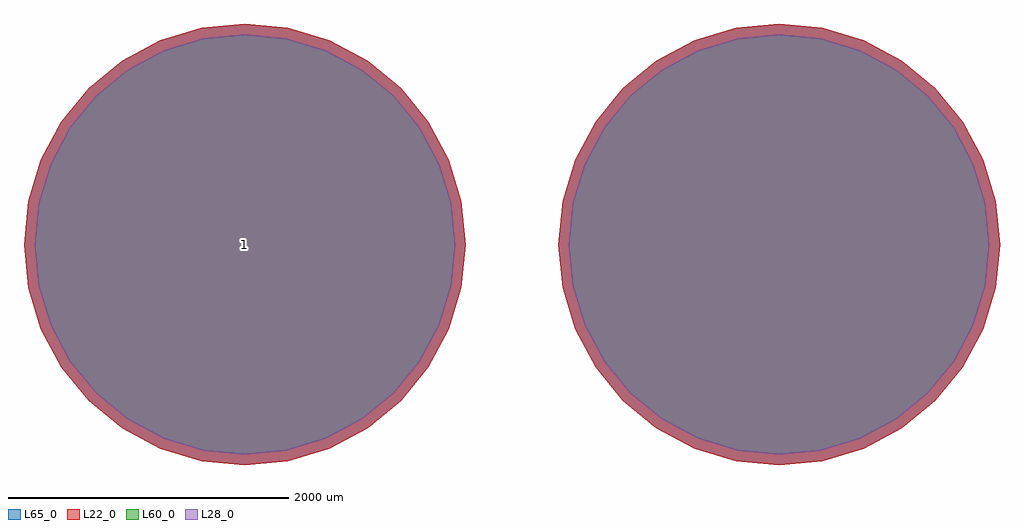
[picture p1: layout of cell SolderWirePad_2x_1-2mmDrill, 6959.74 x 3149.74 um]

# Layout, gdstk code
import gdstk
lib = gdstk.Library(unit=1e-6, precision=1e-09)
def P(c, l, *ps):  # polygons
    for p in ps: c.add(gdstk.Polygon(p, *l))
L22_0 = (22, 0)
L28_0 = (28, 0)
L60_0 = (60, 0)
L65_0 = (65, 0)

solderwirepad_2x_1_2mmdr = lib.new_cell('SolderWirePad_2x_1-2mmDrill')
P(solderwirepad_2x_1_2mmdr, L22_0, [(3479.87,0),(3449.609,307.242),(3359.99,602.677),(3214.457,874.951),(3018.601,1113.601),(2779.951,1309.457),(2507.677,1454.99),(2212.242,1544.609),(1905,1574.87),(1597.758,1544.609),(1302.323,1454.99),(1030.049,1309.457),(791.399,1113.601),(595.543,874.951),(450.01,602.677),(360.391,307.242),(330.13,0),(360.391,-307.242),(450.01,-602.677),(595.543,-874.951),(791.399,-1113.601),(1030.049,-1309.457),(1302.323,-1454.99),(1597.758,-1544.609),(1905,-1574.87),(2212.242,-1544.609),(2507.677,-1454.99),(2779.951,-1309.457),(3018.601,-1113.601),(3214.457,-874.951),(3359.99,-602.677),(3449.609,-307.242)],
  [(-330.13,0),(-360.391,307.242),(-450.01,602.677),(-595.543,874.951),(-791.399,1113.601),(-1030.049,1309.457),(-1302.323,1454.99),(-1597.758,1544.609),(-1905,1574.87),(-2212.242,1544.609),(-2507.677,1454.99),(-2779.951,1309.457),(-3018.601,1113.601),(-3214.457,874.951),(-3359.99,602.677),(-3449.609,307.242),(-3479.87,0),(-3449.609,-307.242),(-3359.99,-602.677),(-3214.457,-874.951),(-3018.601,-1113.601),(-2779.951,-1309.457),(-2507.677,-1454.99),(-2212.242,-1544.609),(-1905,-1574.87),(-1597.758,-1544.609),(-1302.323,-1454.99),(-1030.049,-1309.457),(-791.399,-1113.601),(-595.543,-874.951),(-450.01,-602.677),(-360.391,-307.242)])
P(solderwirepad_2x_1_2mmdr, L28_0, [(3404.87,0),(3376.05,292.61),(3290.699,573.975),(3152.096,833.283),(2965.568,1060.568),(2738.283,1247.096),(2478.975,1385.699),(2197.61,1471.05),(1905,1499.87),(1612.39,1471.05),(1331.025,1385.699),(1071.717,1247.096),(844.432,1060.568),(657.904,833.283),(519.301,573.975),(433.95,292.61),(405.13,0),(433.95,-292.61),(519.301,-573.975),(657.904,-833.283),(844.432,-1060.568),(1071.717,-1247.096),(1331.025,-1385.699),(1612.39,-1471.05),(1905,-1499.87),(2197.61,-1471.05),(2478.975,-1385.699),(2738.283,-1247.096),(2965.568,-1060.568),(3152.096,-833.283),(3290.699,-573.975),(3376.05,-292.61)],
  [(-405.13,0),(-433.95,292.61),(-519.301,573.975),(-657.904,833.283),(-844.432,1060.568),(-1071.717,1247.096),(-1331.025,1385.699),(-1612.39,1471.05),(-1905,1499.87),(-2197.61,1471.05),(-2478.975,1385.699),(-2738.283,1247.096),(-2965.568,1060.568),(-3152.096,833.283),(-3290.699,573.975),(-3376.05,292.61),(-3404.87,0),(-3376.05,-292.61),(-3290.699,-573.975),(-3152.096,-833.283),(-2965.568,-1060.568),(-2738.283,-1247.096),(-2478.975,-1385.699),(-2197.61,-1471.05),(-1905,-1499.87),(-1612.39,-1471.05),(-1331.025,-1385.699),(-1071.717,-1247.096),(-844.432,-1060.568),(-657.904,-833.283),(-519.301,-573.975),(-433.95,-292.61)])
P(solderwirepad_2x_1_2mmdr, L60_0, [(3404.87,0),(3376.05,292.61),(3290.699,573.975),(3152.096,833.283),(2965.568,1060.568),(2738.283,1247.096),(2478.975,1385.699),(2197.61,1471.05),(1905,1499.87),(1612.39,1471.05),(1331.025,1385.699),(1071.717,1247.096),(844.432,1060.568),(657.904,833.283),(519.301,573.975),(433.95,292.61),(405.13,0),(433.95,-292.61),(519.301,-573.975),(657.904,-833.283),(844.432,-1060.568),(1071.717,-1247.096),(1331.025,-1385.699),(1612.39,-1471.05),(1905,-1499.87),(2197.61,-1471.05),(2478.975,-1385.699),(2738.283,-1247.096),(2965.568,-1060.568),(3152.096,-833.283),(3290.699,-573.975),(3376.05,-292.61)],
  [(-405.13,0),(-433.95,292.61),(-519.301,573.975),(-657.904,833.283),(-844.432,1060.568),(-1071.717,1247.096),(-1331.025,1385.699),(-1612.39,1471.05),(-1905,1499.87),(-2197.61,1471.05),(-2478.975,1385.699),(-2738.283,1247.096),(-2965.568,1060.568),(-3152.096,833.283),(-3290.699,573.975),(-3376.05,292.61),(-3404.87,0),(-3376.05,-292.61),(-3290.699,-573.975),(-3152.096,-833.283),(-2965.568,-1060.568),(-2738.283,-1247.096),(-2478.975,-1385.699),(-2197.61,-1471.05),(-1905,-1499.87),(-1612.39,-1471.05),(-1331.025,-1385.699),(-1071.717,-1247.096),(-844.432,-1060.568),(-657.904,-833.283),(-519.301,-573.975),(-433.95,-292.61)])
P(solderwirepad_2x_1_2mmdr, L65_0, [(3479.87,0),(3449.609,307.242),(3359.99,602.677),(3214.457,874.951),(3018.601,1113.601),(2779.951,1309.457),(2507.677,1454.99),(2212.242,1544.609),(1905,1574.87),(1597.758,1544.609),(1302.323,1454.99),(1030.049,1309.457),(791.399,1113.601),(595.543,874.951),(450.01,602.677),(360.391,307.242),(330.13,0),(360.391,-307.242),(450.01,-602.677),(595.543,-874.951),(791.399,-1113.601),(1030.049,-1309.457),(1302.323,-1454.99),(1597.758,-1544.609),(1905,-1574.87),(2212.242,-1544.609),(2507.677,-1454.99),(2779.951,-1309.457),(3018.601,-1113.601),(3214.457,-874.951),(3359.99,-602.677),(3449.609,-307.242)],
  [(-330.13,0),(-360.391,307.242),(-450.01,602.677),(-595.543,874.951),(-791.399,1113.601),(-1030.049,1309.457),(-1302.323,1454.99),(-1597.758,1544.609),(-1905,1574.87),(-2212.242,1544.609),(-2507.677,1454.99),(-2779.951,1309.457),(-3018.601,1113.601),(-3214.457,874.951),(-3359.99,602.677),(-3449.609,307.242),(-3479.87,0),(-3449.609,-307.242),(-3359.99,-602.677),(-3214.457,-874.951),(-3018.601,-1113.601),(-2779.951,-1309.457),(-2507.677,-1454.99),(-2212.242,-1544.609),(-1905,-1574.87),(-1597.758,-1544.609),(-1302.323,-1454.99),(-1030.049,-1309.457),(-791.399,-1113.601),(-595.543,-874.951),(-450.01,-602.677),(-360.391,-307.242)])
solderwirepad_2x_1_2mmdr.add(gdstk.Label('1', (-1905,0), layer=28, texttype=0))
solderwirepad_2x_1_2mmdr.add(gdstk.Label('type', (635,-3810), layer=9, texttype=0))
solderwirepad_2x_1_2mmdr.add(gdstk.Label('devicename', (0,3810), layer=9, texttype=0))

lib.write_gds('SolderWirePad_2x_1-2mmDrill.gds')
